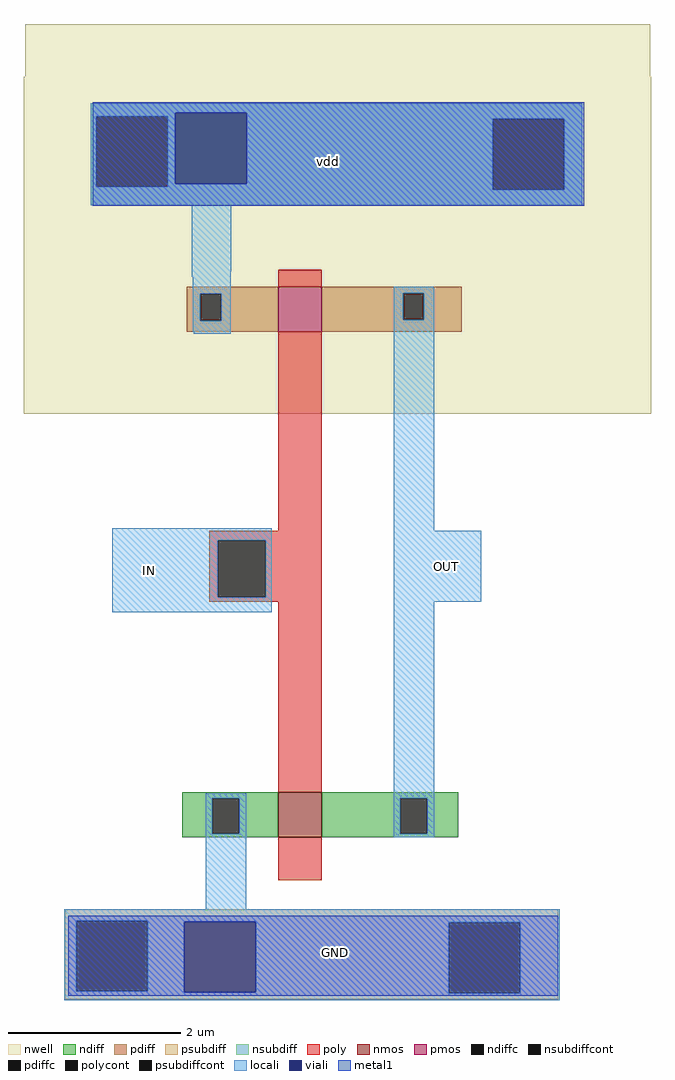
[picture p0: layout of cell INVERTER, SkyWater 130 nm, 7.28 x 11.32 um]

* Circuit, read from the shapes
.subckt INVERTER GND IN OUT vdd
XM1 OUT IN GND GND sky130_fd_pr__nfet_01v8 w=0.52 l=0.51
XM2 OUT IN vdd vdd sky130_fd_pr__pfet_01v8 w=0.52 l=0.51
.ends

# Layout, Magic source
magic
tech sky130A
<< nwell >>
rect -330 328 395 389
rect -332 -63 396 328
<< nmos >>
rect -37 -554 14 -502
<< pmos >>
rect -37 32 14 84
<< ndiff >>
rect -148 -509 -37 -502
rect -148 -550 -113 -509
rect -82 -550 -37 -509
rect -148 -554 -37 -550
rect 14 -509 172 -502
rect 14 -550 105 -509
rect 136 -550 172 -509
rect 14 -554 172 -550
<< pdiff >>
rect -143 76 -37 84
rect -143 45 -127 76
rect -103 45 -37 76
rect -143 32 -37 45
rect 14 77 176 84
rect 14 46 108 77
rect 132 46 176 77
rect 14 32 176 46
<< ndiffc >>
rect -113 -550 -82 -509
rect 105 -550 136 -509
<< pdiffc >>
rect -127 45 -103 76
rect 108 46 132 77
<< psubdiff >>
rect -284 -651 288 -638
rect -284 -733 -271 -651
rect -188 -653 288 -651
rect -188 -733 161 -653
rect -284 -735 161 -733
rect 244 -735 288 -653
rect -284 -742 288 -735
<< nsubdiff >>
rect -254 282 316 297
rect -254 200 -248 282
rect -165 279 316 282
rect -165 200 212 279
rect -254 197 212 200
rect 295 197 316 279
rect -254 179 316 197
<< psubdiffcont >>
rect -271 -733 -188 -651
rect 161 -735 244 -653
<< nsubdiffcont >>
rect -248 200 -165 282
rect 212 197 295 279
<< poly >>
rect -37 84 14 104
rect -37 -199 14 32
rect -117 -210 14 -199
rect -117 -276 -107 -210
rect -51 -276 14 -210
rect -117 -281 14 -276
rect -37 -502 14 -281
rect -37 -604 14 -554
<< polycont >>
rect -107 -276 -51 -210
<< locali >>
rect -254 286 316 297
rect -254 282 -156 286
rect -254 200 -248 282
rect -165 204 -156 282
rect -73 279 316 286
rect -73 204 212 279
rect -165 200 212 204
rect -254 197 212 200
rect 295 197 316 279
rect -254 179 316 197
rect -137 102 -91 179
rect -137 96 -92 102
rect -136 76 -92 96
rect -136 45 -127 76
rect -103 45 -92 76
rect -136 32 -92 45
rect -135 30 -92 32
rect 97 83 143 84
rect 97 77 144 83
rect 97 46 108 77
rect 132 46 144 77
rect -229 -210 -44 -196
rect -229 -276 -107 -210
rect -51 -276 -44 -210
rect -229 -293 -44 -276
rect 97 -199 144 46
rect 97 -281 199 -199
rect -121 -509 -74 -503
rect -121 -550 -113 -509
rect -82 -550 -74 -509
rect -121 -638 -74 -550
rect 97 -509 144 -281
rect 97 -550 105 -509
rect 136 -550 144 -509
rect 97 -554 144 -550
rect -285 -651 290 -638
rect -285 -733 -271 -651
rect -188 -652 290 -651
rect -188 -733 -146 -652
rect -285 -734 -146 -733
rect -63 -653 290 -652
rect -63 -734 161 -653
rect -285 -735 161 -734
rect 244 -735 290 -653
rect -285 -743 290 -735
<< viali >>
rect -156 204 -73 286
rect -146 -734 -63 -652
<< metal1 >>
rect -252 286 318 298
rect -252 204 -156 286
rect -73 204 318 286
rect -252 178 318 204
rect -280 -652 288 -645
rect -280 -734 -146 -652
rect -63 -734 288 -652
rect -280 -738 288 -734
<< labels >>
flabel metal1 22 230 22 230 0 FreeSans 400 0 0 0 vdd
flabel locali -186 -245 -186 -245 0 FreeSans 400 0 0 0 IN
flabel locali 158 -240 158 -240 0 FreeSans 320 0 0 0 OUT
flabel metal1 30 -688 30 -688 0 FreeSans 320 0 0 0 GND
<< end >>
